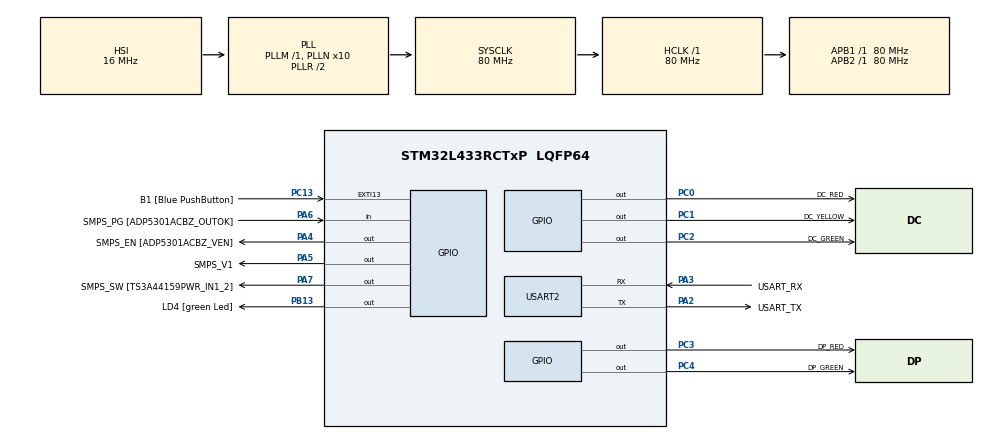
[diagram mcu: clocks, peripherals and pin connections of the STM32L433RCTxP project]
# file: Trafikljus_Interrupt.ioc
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Mcu.Family=STM32L4
Mcu.Name=STM32L433RCTxP
Mcu.Package=LQFP64
NVIC.EXTI15_10_IRQn=true\:0\:0\:false\:false\:true\:true\:true\:true
NVIC.PriorityGroup=NVIC_PRIORITYGROUP_4
PA13\ (JTMS-SWDIO).GPIO_Label=TMS
PA13\ (JTMS-SWDIO).Mode=Serial_Wire
PA13\ (JTMS-SWDIO).Signal=SYS_JTMS-SWDIO
PA14\ (JTCK-SWCLK).GPIO_Label=TCK
PA14\ (JTCK-SWCLK).Mode=Serial_Wire
PA14\ (JTCK-SWCLK).Signal=SYS_JTCK-SWCLK
PA2.GPIO_Label=USART_TX
PA2.GPIO_Mode=GPIO_MODE_AF_PP
PA2.GPIO_PuPd=GPIO_NOPULL
PA2.GPIO_Speed=GPIO_SPEED_FREQ_VERY_HIGH
PA2.Mode=Asynchronous
PA2.Signal=USART2_TX
PA3.GPIO_Label=USART_RX
PA3.GPIO_Mode=GPIO_MODE_AF_PP
PA3.GPIO_PuPd=GPIO_NOPULL
PA3.GPIO_Speed=GPIO_SPEED_FREQ_VERY_HIGH
PA3.Mode=Asynchronous
PA3.Signal=USART2_RX
PA4.GPIO_Label=SMPS_EN [ADP5301ACBZ_VEN]
PA4.Signal=GPIO_Output
PA5.GPIO_Label=SMPS_V1
PA5.GPIO_ModeDefaultOutputPP=GPIO_MODE_OUTPUT_PP
PA5.GPIO_PuPd=GPIO_NOPULL
PA5.GPIO_Speed=GPIO_SPEED_FREQ_LOW
PA5.Signal=GPIO_Output
PA6.GPIO_Label=SMPS_PG [ADP5301ACBZ_OUTOK]
PA6.GPIO_PuPd=GPIO_PULLUP
PA6.Signal=GPIO_Input
PA7.GPIO_Label=SMPS_SW [TS3A44159PWR_IN1_2]
PA7.Signal=GPIO_Output
PB13.GPIO_Label=LD4 [green Led]
PB13.Signal=GPIO_Output
PB3\ (JTDO-TRACESWO).GPIO_Label=SWO
PB3\ (JTDO-TRACESWO).Signal=SYS_JTDO-SWO
PC0.GPIO_Label=DC_RED
PC0.Signal=GPIO_Output
PC1.GPIO_Label=DC_YELLOW
PC1.Signal=GPIO_Output
PC13.GPIO_Label=B1 [Blue PushButton]
PC13.GPIO_ModeDefaultEXTI=GPIO_MODE_IT_FALLING
PC13.GPIO_PuPd=GPIO_NOPULL
PC13.Signal=GPXTI13
PC14-OSC32_IN\ (PC14).Mode=LSE-External-Oscillator
PC14-OSC32_IN\ (PC14).Signal=RCC_OSC32_IN
PC15-OSC32_OUT\ (PC15).Mode=LSE-External-Oscillator
PC15-OSC32_OUT\ (PC15).Signal=RCC_OSC32_OUT
PC2.GPIO_Label=DC_GREEN
PC2.Signal=GPIO_Output
PC3.GPIO_Label=DP_RED
PC3.Signal=GPIO_Output
PC4.GPIO_Label=DP_GREEN
PC4.Signal=GPIO_Output
PH0-OSC_IN\ (PH0).GPIO_Label=MCO
PH0-OSC_IN\ (PH0).Mode=HSE-External-Clock-Source
PH0-OSC_IN\ (PH0).Signal=RCC_OSC_IN
PH1-OSC_OUT\ (PH1).Signal=RCC_OSC_OUT
ProjectManager.HeapSize=0x200
ProjectManager.StackSize=0x400
ProjectManager.TargetToolchain=STM32CubeIDE
RCC.ADCFreq_Value=64000000
RCC.AHBFreq_Value=80000000
RCC.APB1Freq_Value=80000000
RCC.APB1TimFreq_Value=80000000
RCC.APB2Freq_Value=80000000
RCC.APB2TimFreq_Value=80000000
RCC.CortexFreq_Value=80000000
RCC.HCLKFreq_Value=80000000
RCC.HSE_VALUE=8000000
RCC.HSI48_VALUE=48000000
RCC.HSI_VALUE=16000000
RCC.MSI_VALUE=4000000
RCC.PLLN=10
RCC.PLLSourceVirtual=RCC_PLLSOURCE_HSI
RCC.PREFETCH_ENABLE=1
RCC.SYSCLKFreq_VALUE=80000000
RCC.SYSCLKSource=RCC_SYSCLKSOURCE_PLLCLK
RCC.USBFreq_Value=64000000
RCC.VCOOutputFreq_Value=160000000
USART2.VirtualMode-Asynchronous=VM_ASYNC
board=NUCLEO-L433RC-P

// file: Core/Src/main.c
/* USER CODE BEGIN Header */
/**
  ******************************************************************************
  * @file           : main.c
  * @brief          : Main program body
  ******************************************************************************
  * @attention
  *
  * Copyright (c) 2026 STMicroelectronics.
  * All rights reserved.
  *
  * This software is licensed under terms that can be found in the LICENSE file
  * in the root directory of this software component.
  * If no LICENSE file comes with this software, it is provided AS-IS.
  *
  ******************************************************************************
  */
/* USER CODE END Header */
#include "main.h"

/* USER CODE BEGIN Includes */
#include "EventQueue.h"
#include <stdio.h>
#include <stdlib.h>
#include <stdbool.h>
#include "stm32l4xx_it.h"

/* USER CODE END Includes */

UART_HandleTypeDef huart2;

void SystemClock_Config(void);
static void MX_GPIO_Init(void);
static void MX_USART2_UART_Init(void);

/* USER CODE BEGIN 0 */
void set_traffic_lights(enum state s)
{
	const int8_t output[8] = {0b11111, 0b10001, 0b01001,0b01011,0b01100, 0b01100, 0b01010, 0b01001};
	switch(s)
	{
		case s_init: GPIOC -> ODR = output[s_init] ; break;
		case s_people_walk: GPIOC -> ODR = output[s_people_walk] ; break;
		case s_car_standing_by: GPIOC -> ODR = output[s_car_standing_by] ; break;
		case s_people_stop: GPIOC -> ODR = output[s_people_stop] ; break;
		case s_car_go: GPIOC -> ODR = output[s_car_go] ; break;
		case s_pushed_wait: GPIOC -> ODR = output[s_pushed_wait] ; break;
		case s_car_is_stopping:  GPIOC -> ODR = output[s_car_is_stopping] ; break;
		case s_car_stop: GPIOC -> ODR = output[s_car_stop] ; break;
		default: break;
	}
}
int systick_count = 0;
uint32_t ticks_left_in_state = 0;

int is_button_pressed()
{
	evq_push_back(ev_button_push);
	return GPIOC->IDR & (1 << 13);
}
void my_systick_handler()
{
	systick_count++;
	if (systick_count == 1000)
	{
		HAL_GPIO_TogglePin(LD4_GPIO_Port, LD4_Pin);
		  systick_count = 0;
	}
	if(ticks_left_in_state > 0)
	{
		ticks_left_in_state--;
		if(ticks_left_in_state == 0)
		{
			evq_push_back(ev_state_timeout);
		}
	}
}

/* USER CODE END 0 */

int main(void)
{

  /* USER CODE BEGIN 1 */
	enum state st = s_init;
	enum event ev = ev_none;
	uint32_t  curr_tick, last_tick = 0;
	bool temp = false;

  /* USER CODE END 1 */

  /* MCU Configuration--------------------------------------------------------*/

  /* Reset of all peripherals, Initializes the Flash interface and the Systick. */
  HAL_Init();

  /* Configure the system clock */
  SystemClock_Config();

  /* Initialize all configured peripherals */
  MX_GPIO_Init();
  MX_USART2_UART_Init();

  /* Infinite loop */
  while (1)
  {

    /* USER CODE BEGIN 3 */
	  ev = evq_pop_front();
	  switch(st)
	  	  	{
			case s_init:
				if (ev == ev_button_push) {
					st = s_people_walk;
				}
				break;
			case s_people_walk:
				if(temp == false)
					{
						ticks_left_in_state = 5000;
						temp = true;
					}
				if (ev == ev_state_timeout) {
					st = s_car_standing_by;
					temp = false;
				}
				break;
			case s_car_standing_by:
				if(temp == false)
					{
						ticks_left_in_state = 5000;
						temp = true;
					}
				if (ev == ev_state_timeout) {
					st = s_people_stop;
					temp = false;
				}
				break;
			case s_people_stop:
				if(temp == false)
					{
						ticks_left_in_state = 5000;
						temp = true;
					}
				if (ev == ev_state_timeout) {
					st = s_car_go;
					temp = false;
				}
				break;
			case s_car_go:
				if (ev == ev_button_push){
					st = s_pushed_wait;
				}
				break;
			case s_pushed_wait:
				if(temp == false)
					{
						ticks_left_in_state = 5000;
						temp = true;
					}
				if (ev == ev_state_timeout) {
					st = s_car_is_stopping;
					temp = false;
				}
				break;
			case s_car_is_stopping:
				if(temp == false)
					{
						ticks_left_in_state = 5000;
						temp = true;
					}
				if (ev == ev_state_timeout) {
					st = s_car_stop;
					temp = false;
				}
				break;
			case s_car_stop:
				if(temp == false)
					{
						ticks_left_in_state = 5000;
						temp = true;
					}
				if (ev == ev_state_timeout) {
					st = s_people_walk;
					temp = false;
				}
				break;
			default: break;
	  	  	}
	  	  	set_traffic_lights(st);
  }
  /* USER CODE END 3 */
}

void SystemClock_Config(void)
{
  RCC_OscInitTypeDef RCC_OscInitStruct = {0};
  RCC_ClkInitTypeDef RCC_ClkInitStruct = {0};

  /** Configure the main internal regulator output voltage
  */
  if (HAL_PWREx_ControlVoltageScaling(PWR_REGULATOR_VOLTAGE_SCALE1) != HAL_OK)
  {
    Error_Handler();
  }

  /** Initializes the RCC Oscillators according to the specified parameters
  * in the RCC_OscInitTypeDef structure.
  */
  RCC_OscInitStruct.OscillatorType = RCC_OSCILLATORTYPE_HSI;
  RCC_OscInitStruct.HSIState = RCC_HSI_ON;
  RCC_OscInitStruct.HSICalibrationValue = RCC_HSICALIBRATION_DEFAULT;
  RCC_OscInitStruct.PLL.PLLState = RCC_PLL_ON;
  RCC_OscInitStruct.PLL.PLLSource = RCC_PLLSOURCE_HSI;
  RCC_OscInitStruct.PLL.PLLM = 1;
  RCC_OscInitStruct.PLL.PLLN = 10;
  RCC_OscInitStruct.PLL.PLLP = RCC_PLLP_DIV7;
  RCC_OscInitStruct.PLL.PLLQ = RCC_PLLQ_DIV2;
  RCC_OscInitStruct.PLL.PLLR = RCC_PLLR_DIV2;
  if (HAL_RCC_OscConfig(&RCC_OscInitStruct) != HAL_OK)
  {
    Error_Handler();
  }

  /** Initializes the CPU, AHB and APB buses clocks
  */
  RCC_ClkInitStruct.ClockType = RCC_CLOCKTYPE_HCLK|RCC_CLOCKTYPE_SYSCLK
                              |RCC_CLOCKTYPE_PCLK1|RCC_CLOCKTYPE_PCLK2;
  RCC_ClkInitStruct.SYSCLKSource = RCC_SYSCLKSOURCE_PLLCLK;
  RCC_ClkInitStruct.AHBCLKDivider = RCC_SYSCLK_DIV1;
  RCC_ClkInitStruct.APB1CLKDivider = RCC_HCLK_DIV1;
  RCC_ClkInitStruct.APB2CLKDivider = RCC_HCLK_DIV1;

  if (HAL_RCC_ClockConfig(&RCC_ClkInitStruct, FLASH_LATENCY_4) != HAL_OK)
  {
    Error_Handler();
  }
}

static void MX_USART2_UART_Init(void)
{

  huart2.Instance = USART2;
  huart2.Init.BaudRate = 115200;
  huart2.Init.WordLength = UART_WORDLENGTH_8B;
  huart2.Init.StopBits = UART_STOPBITS_1;
  huart2.Init.Parity = UART_PARITY_NONE;
  huart2.Init.Mode = UART_MODE_TX_RX;
  huart2.Init.HwFlowCtl = UART_HWCONTROL_NONE;
  huart2.Init.OverSampling = UART_OVERSAMPLING_16;
  huart2.Init.OneBitSampling = UART_ONE_BIT_SAMPLE_DISABLE;
  huart2.AdvancedInit.AdvFeatureInit = UART_ADVFEATURE_NO_INIT;
  if (HAL_UART_Init(&huart2) != HAL_OK)
  {
    Error_Handler();
  }

}

static void MX_GPIO_Init(void)
{
  GPIO_InitTypeDef GPIO_InitStruct = {0};

  /* GPIO Ports Clock Enable */
  __HAL_RCC_GPIOC_CLK_ENABLE();
  __HAL_RCC_GPIOH_CLK_ENABLE();
  __HAL_RCC_GPIOA_CLK_ENABLE();
  __HAL_RCC_GPIOB_CLK_ENABLE();

  /*Configure GPIO pin Output Level */
  HAL_GPIO_WritePin(GPIOC, DC_RED_Pin|DC_YELLOW_Pin|DC_GREEN_Pin|DP_RED_Pin
                          |DP_GREEN_Pin, GPIO_PIN_RESET);

  /*Configure GPIO pin Output Level */
  HAL_GPIO_WritePin(GPIOA, SMPS_EN_Pin|SMPS_V1_Pin|SMPS_SW_Pin, GPIO_PIN_RESET);

  /*Configure GPIO pin Output Level */
  HAL_GPIO_WritePin(LD4_GPIO_Port, LD4_Pin, GPIO_PIN_RESET);

  /*Configure GPIO pin : B1_Pin */
  GPIO_InitStruct.Pin = B1_Pin;
  GPIO_InitStruct.Mode = GPIO_MODE_IT_FALLING;
  GPIO_InitStruct.Pull = GPIO_NOPULL;
  HAL_GPIO_Init(B1_GPIO_Port, &GPIO_InitStruct);

  /*Configure GPIO pins : DC_RED_Pin DC_YELLOW_Pin DC_GREEN_Pin DP_RED_Pin
                           DP_GREEN_Pin */
  GPIO_InitStruct.Pin = DC_RED_Pin|DC_YELLOW_Pin|DC_GREEN_Pin|DP_RED_Pin
                          |DP_GREEN_Pin;
  GPIO_InitStruct.Mode = GPIO_MODE_OUTPUT_PP;
  GPIO_InitStruct.Pull = GPIO_NOPULL;
  GPIO_InitStruct.Speed = GPIO_SPEED_FREQ_LOW;
  HAL_GPIO_Init(GPIOC, &GPIO_InitStruct);

  /*Configure GPIO pins : SMPS_EN_Pin SMPS_V1_Pin SMPS_SW_Pin */
  GPIO_InitStruct.Pin = SMPS_EN_Pin|SMPS_V1_Pin|SMPS_SW_Pin;
  GPIO_InitStruct.Mode = GPIO_MODE_OUTPUT_PP;
  GPIO_InitStruct.Pull = GPIO_NOPULL;
  GPIO_InitStruct.Speed = GPIO_SPEED_FREQ_LOW;
  HAL_GPIO_Init(GPIOA, &GPIO_InitStruct);

  /*Configure GPIO pin : SMPS_PG_Pin */
  GPIO_InitStruct.Pin = SMPS_PG_Pin;
  GPIO_InitStruct.Mode = GPIO_MODE_INPUT;
  GPIO_InitStruct.Pull = GPIO_PULLUP;
  HAL_GPIO_Init(SMPS_PG_GPIO_Port, &GPIO_InitStruct);

  /*Configure GPIO pin : LD4_Pin */
  GPIO_InitStruct.Pin = LD4_Pin;
  GPIO_InitStruct.Mode = GPIO_MODE_OUTPUT_PP;
  GPIO_InitStruct.Pull = GPIO_NOPULL;
  GPIO_InitStruct.Speed = GPIO_SPEED_FREQ_LOW;
  HAL_GPIO_Init(LD4_GPIO_Port, &GPIO_InitStruct);

  /* EXTI interrupt init*/
  HAL_NVIC_SetPriority(EXTI15_10_IRQn, 0, 0);
  HAL_NVIC_EnableIRQ(EXTI15_10_IRQn);

}

void Error_Handler(void)
{
  __disable_irq();
  while (1)
  {
  }
}
